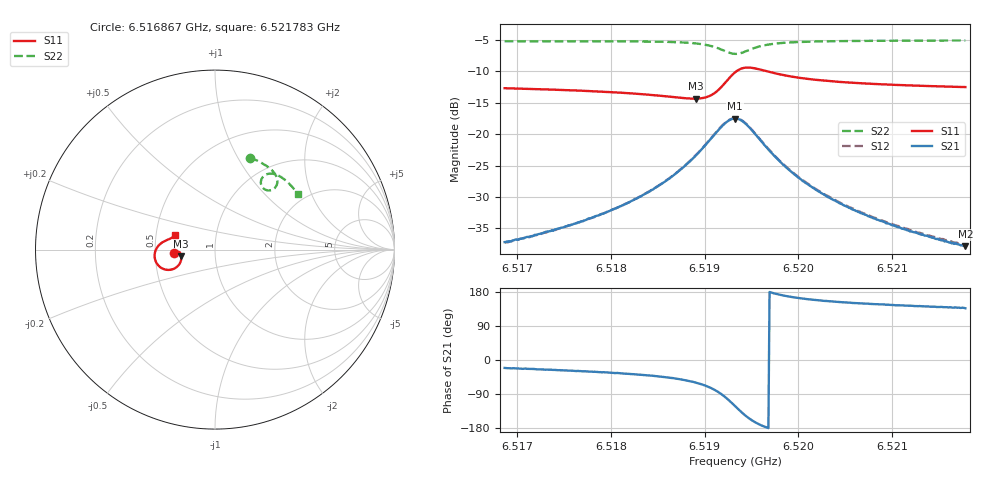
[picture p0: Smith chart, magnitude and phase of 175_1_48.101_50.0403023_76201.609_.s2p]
#  HZ  S  RI  R  50.00
! Rohde & Schwarz Vector Network Analyzer
! Rohde-Schwarz,ZNB20-2Port,1311601062101988,3.16
! Created: UTC 12/23/2023, 3:52:11 AM
! freq[Hz]  re:S11  im:S11  re:S21  im:S21  re:S12  im:S12  re:S22  im:S22
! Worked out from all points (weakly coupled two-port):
!   401 points, 6.516867 GHz to 6.521783 GHz, reference 50 ohm
!   highest |S21| = -17.52 dB at 6.519325 GHz (marker M1); lowest = -37.8 dB at 6.521783 GHz (marker M2)
!   lowest |S11| = -14.4 dB at 6.518907 GHz (marker M3), VSWR 1.47, Z = 34.1 - j2.57 ohm
!   |S11| at or under -10 dB: start of sweep to 6.51934 GHz; 6.519666 GHz to end of sweep
!   |S22| runs from -7.2 to -5.1 dB; largest |S21 - S12| = 0.0041
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6.5168671e9  -0.2312 -0.0196  0.0129 -0.00495  0.0129 -0.0045  0.194 0.5125
6.5171498e9  -0.2283 -0.0152  0.0141 -0.0062  0.0142 -0.00573  0.2148 0.5045
6.5176906e9  -0.2213 -0.00831  0.0176 -0.0101  0.018 -0.0094  0.2547 0.4855
6.5181945e9  -0.2114 -0.00579  0.023 -0.0171  0.0236 -0.0164  0.2926 0.4625
6.5185141e9  -0.2023 -0.00981  0.0283 -0.0268  0.0293 -0.0261  0.3174 0.4418
6.5186984e9  -0.1954 -0.017  0.0321 -0.037  0.0333 -0.0361  0.3316 0.4254
6.5189074e9  -0.1881 -0.0363  0.0343 -0.0585  0.0363 -0.0576  0.3453 0.3977
6.519018e9  -0.1886 -0.0561  0.0304 -0.0774  0.0331 -0.077  0.3475 0.3765
6.519104e9  -0.1965 -0.0776  0.02 -0.0968  0.023 -0.0968  0.3421 0.3562
6.5192269e9  -0.2356 -0.1094  -0.0197 -0.1218  -0.0162 -0.1233  0.3125 0.3311
6.5193253e9  -0.2914 -0.1061  -0.0697 -0.1133  -0.0668 -0.1163  0.2744 0.3374
6.5193744e9  -0.3156 -0.0882  -0.0894 -0.0953  -0.0872 -0.0986  0.2608 0.3528
6.5194359e9  -0.3331 -0.0579  -0.1014 -0.067  -0.1003 -0.0706  0.2553 0.3757
6.5195465e9  -0.3325 -0.00903  -0.0957 -0.0253  -0.0958 -0.0284  0.2696 0.4076
6.5196571e9  -0.3168 0.0198  -0.0792 -0.00335  -0.0797 -0.00587  0.2921 0.4208
6.5198661e9  -0.2895 0.0427  -0.0538 0.0105  -0.0547 0.00903  0.3273 0.4216
6.5201488e9  -0.2673 0.0536  -0.0353 0.0135  -0.0361 0.0125  0.3595 0.4093
6.5203331e9  -0.2578 0.0575  -0.0283 0.0132  -0.029 0.0126  0.3754 0.3992
6.5205666e9  -0.2492 0.0615  -0.0223 0.0124  -0.023 0.0119  0.3928 0.3858
6.5209723e9  -0.2383 0.0674  -0.0159 0.011  -0.0165 0.0105  0.4184 0.3619
6.5214516e9  -0.229 0.0742  -0.0115 0.00946  -0.0119 0.00943  0.4443 0.3328
6.5217835e9  -0.2234 0.0787  -0.00934 0.00883  -0.00993 0.00867  0.4603 0.3122
